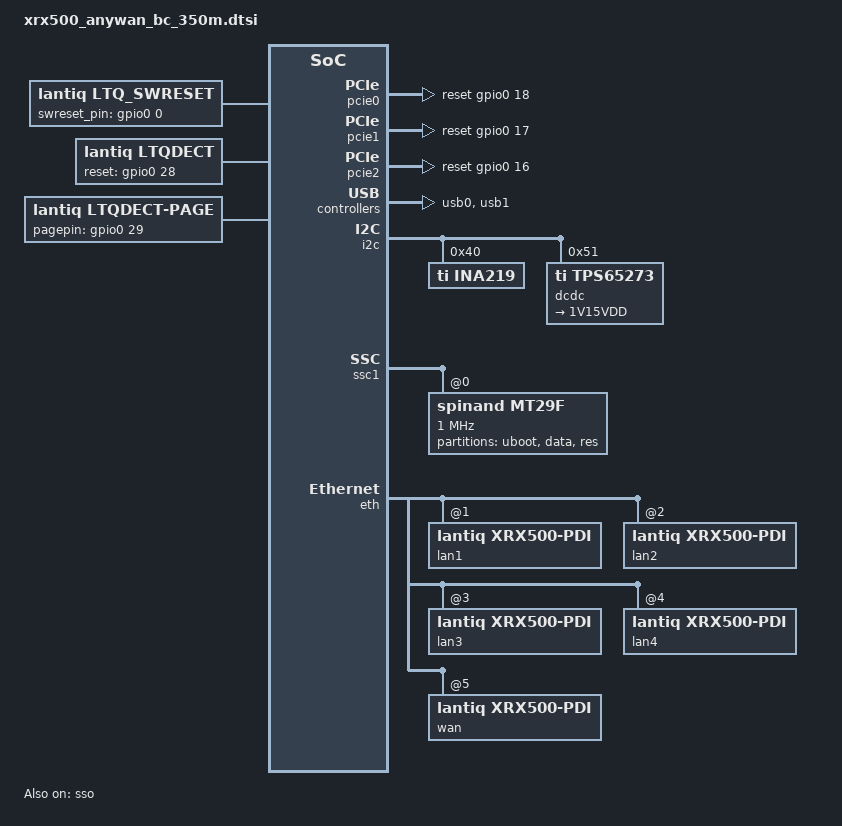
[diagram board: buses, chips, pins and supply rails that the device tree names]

/******************************************************************************
** Board configuration: xRX500 ANYWAN Board
******************************************************************************/
/ {

/******************************************************************************
** Board configuration: Enable buttons on the board.  
******************************************************************************/
	ltq_swreset {
	      compatible = "lantiq,ltq_swreset";
	      swreset_pin = <&gpio0 0 0>;
	      swreset_bit = <1>;
	      status = "ok";
	};
/*****************************************************************************/
};

/******************************************************************************
** Board configuration: Enable Nand flash pinctrl. 
******************************************************************************/
&pinctrl_nand {
    status = "ok";
}; 

/******************************************************************************
** Board configuration: Enable fxs SS.  
******************************************************************************/
&pinctrl_vcodec {
	status = "ok";
};
	
/******************************************************************************
** Board configuration: Enable spi1 SS.  
******************************************************************************/

&pinctrl_spi1 {  
	status = "ok";
};

/******************************************************************************
** Board configuration: Enable dect SS.
******************************************************************************/
/ {
dect {
	compatible = "lantiq,ltqdect";
	lantiq,dect-spi-int=<302>; /*271 GPIO base + GPIO 31 for cosic interrupt and driver Probe fn will look for string dect-spi-int */
	lantiq,dect-cs= <0>; /*DECT chip select port Number; This is used by SSC interface*/
	gpio-reset = <&gpio0 28 0>;
	status = "ok";
     };

dect-page {
	compatible = "lantiq,ltqdect-page";
	lantiq,pagebit= <1>; /*DECT Page Bit: Bit info meant for DECT*/
	lantiq,pagepin= <&gpio0 29 0>; 
	status = "ok";
      };
};

/******************************************************************************
** Board configuration: Enable spi0 configuration.
******************************************************************************/

&pinctrl_spi0 {
		status = "disabled";
};


/******************************************************************************
** Board configuration: Enable PCIe board configuration.
** PCIE sub-system feature configuration, the pcie0/1/2 are defined in Soc level  
******************************************************************************/
&pcie0 {
	status = "ok";
	lantiq,rst-high-active = <0>; /* 0 - low activ, 1 -- high active */
	lantiq,rst-interval = <200>; /* in mili-seconds, up to 500 ms*/
	lantiq,inbound-swap = <1>; /* 0 -- no swap, 1 -- swap */
	lantiq,outbound-swap = <0>; /* 0 -- no swap, 1 -- swap */
	lantiq,phy-mode = <0>; /* 0 -36Mhz, 1 - 36MHzSSC, 2 - 25Mhz, 3 - 25MHzSSC, 4 - 100MHz, 5 - 100MHz SSC */
	reset-gpio = <&gpio0 18 0>; // default value , it can be updated on board. 
};

&pcie1 {
	status = "ok";
	lantiq,rst-high-active = <0>; /* 0 - low activ, 1 -- high active */
	lantiq,rst-interval = <200>; /* in mili-seconds, up to 500 ms*/
	lantiq,inbound-swap = <1>; /* 0 -- no swap, 1 -- swap */
	lantiq,outbound-swap = <0>; /* 0 -- no swap, 1 -- swap */
	lantiq,phy-mode = <0>; /* 0 -36Mhz, 1 - 36MHzSSC, 2 - 25Mhz, 3 - 25MHzSSC, 4 - 100MHz, 5 - 100MHz SSC */
	reset-gpio = <&gpio0 17 0>;// default value , it can be updated on board. 
};

&pcie2 {
	status = "ok";
	lantiq,rst-high-active = <1>; /* 0 - low activ, 1 -- high active */
	lantiq,rst-interval = <200>; /* in mili-seconds, up to 500 ms*/
	lantiq,inbound-swap = <0>; /* 0 -- no swap, 1 -- swap */
	lantiq,outbound-swap = <0>; /* 0 -- no swap, 1 -- swap */
	lantiq,phy-mode = <0>; /* 0 -36Mhz, 1 - 36MHzSSC, 2 - 25Mhz, 3 - 25MHzSSC, 4 - 100MHz, 5 - 100MHz SSC */
	reset-gpio = <&gpio0 16 0>;// default value , it can be updated on board. 
};

/******************************************************************************
** Board configuration: Enable USB board configuration.  
******************************************************************************/
&usb0{
	status = "ok";
	vbus-gpio = <&gpio0 7 0>;
};
&usb1{
	status = "ok";
	vbus-gpio = <&gpio0 2 0>;
};
/*****************************************************************************/

/******************************************************************************
** Board configuration: Enable Shift register LED board configuration.  
******************************************************************************/
&pinctrl_ledc {
			status="ok";
		};

&sso {
	status = "okay";
	lantiq,phy2 = <0x1>;
	lantiq,phy3 = <0x1>;
	lantiq,phy4 = <0x1>;
	lantiq,phy5 = <0x1>;
	lantiq,phy6 = <0x1>;
	lantiq,groups = <0x3>;
	/* lantiq,rising; */
	#address-cells = <1>;
	#size-cells = <0>;
	g6fled0 {
		label = "g6fled0";
		reg = <0x0>;
	};
	g2led0 {
		label = "g2led0";
		reg = <0x1>;
	};
	g3led0 {
		label = "g3led0";
		reg = <0x2>;
	};
	g4led0 {
		label = "g4led0";
		reg = <0x3>;
	};
	g5led0 {
		label = "g5led0";
		reg = <0x4>;
	};
	dect_led {
		label = "dect_led";
		reg = <0x5>;
	};
	wifi5g_led {
		label = "wifi5g_led";
		reg = <0x6>;
	};
	voip1_led {
		label = "voip1_led";
		reg = <0x7>;
	};
        broadband_led {
                label = "broadband_led";
                reg = <0x8>;
        };
	lte_led {
		label = "lte_led";
		reg = <0x9>;
	};
	wifi2g_led {
		label = "wifi2g_led";
		reg = <0xa>;
	};
	internet_led {
		label = "internet_led";
		reg = <0xb>;
	};
        led12 {
                label = "led12";
                reg = <0xc>;
        };
        led13 {
                label = "xrx500:red:1";
                reg = <0xd>;
        };
        led14 {
                label = "xrx500:blue:1";
                reg = <0xe>;
        };
        led15 {
                label = "xrx500:green:1";
                reg = <0xf>;
				linux,default-trigger = "default-on";
        };
};

/******************************************************************************
** Board configuration: Enable Switch MDC/MDIO board setting.   
******************************************************************************/
&pinctrl_mdio {
			status="disable";
};
/******************************************************************************
** Board configuration: Enable CoC power managment board feature  
******************************************************************************/
&pinctrl_i2c {
			status="ok";
};

&i2c {
			status = "ok";

	ina219: ina219@40 {
		compatible = "ti,ina219";
		reg = <0x40>;
		shunt-resistor = <10000>;
		rail-name = "PWR_12V";
		};

	dcdc:tps65273@51 {
		compatible = "ti,tps65273";
		reg = <0x51>;

		regulators {
			dcdc2 {
				regulator-name = "1V15VDD";
				regulator-always-on;
				vout-slew-rate = <0>; 
				vout-psm-mode  = <0>;
			};
		};
	};
};
/******************************************************************************
** Board configuration: Enable SSC1 to support standard SPI devices (SPI Flash)  
******************************************************************************/
&ssc1 {
		status="ok";
		mt29f@0 {
				#address-cells = <1>;
				#size-cells = <1>;
				reg = <0 1>;
				compatible = "spinand,mt29f";
				linux,modalias = "mt29f";
				spi-max-frequency = <1000000>;

				partition@0 {
					label = "uboot";
					reg = <0x000000 0x100000>;
				};

				partition@100000 {
					label = "data";
					reg = <0x100000 0x1000000>;
				};	
				
				partition@1100000 {
					label = "res";
					reg = <0x1100000 0x6E00000>;
				};
			};
};

/******************************************************************************
** Board configuration: Configure LAN/WAN interfaces  
******************************************************************************/
&eth {
	status = "ok";

	lan1: interface@1 {
		compatible = "lantiq,xrx500-pdi";
		#address-cells = <1>;
		#size-cells = <0>;
		reg = <1>;

		ethernet@1 {
			compatible = "lantiq,xrx500-pdi-port";
			reg = <2>;
			interrupt-parent = <&gic>;
			interrupts = <120>;
			phy-mode = "rgmii";
			phy-handle = <&phy2>;
		};
	};

	lan2: interface@2 {
		compatible = "lantiq,xrx500-pdi";
		#address-cells = <1>;
		#size-cells = <0>;
		reg = <2>;

		ethernet@2 {
			compatible = "lantiq,xrx500-pdi-port";
			reg = <3>;
			interrupt-parent = <&gic>;
			interrupts = <121>;
			phy-mode = "rgmii";
			phy-handle = <&phy3>;
		};
	};

	lan3: interface@3 {
		compatible = "lantiq,xrx500-pdi";
		#address-cells = <1>;
		#size-cells = <0>;
		reg = <3>;

		ethernet@3 {
			compatible = "lantiq,xrx500-pdi-port";
			reg = <4>;
			interrupt-parent = <&gic>;
			interrupts = <134>;
			phy-mode = "rgmii";
			phy-handle = <&phy4>;
		};
	};

	lan4: interface@4 {
		compatible = "lantiq,xrx500-pdi";
		#address-cells = <1>;
		#size-cells = <0>;
		reg = <4>;

		ethernet@4 {
			compatible = "lantiq,xrx500-pdi-port";
			reg = <5>;
			interrupt-parent = <&gic>;
			interrupts = <135>;
			phy-mode = "rgmii";
			phy-handle = <&phy5>;
		};
	};

	wan: interface@5 {
		compatible = "lantiq,xrx500-pdi";
		#address-cells = <1>;
		#size-cells = <0>;
		reg = <5>;
		lantiq,wan;

		ethernet@5 {
			compatible = "lantiq,xrx500-pdi-port";
			reg = <1>;
			interrupt-parent = <&gic>;
			interrupts = <119>;
			phy-mode = "rgmii";
			phy-handle = <&phy1>;
		};
	};
};

